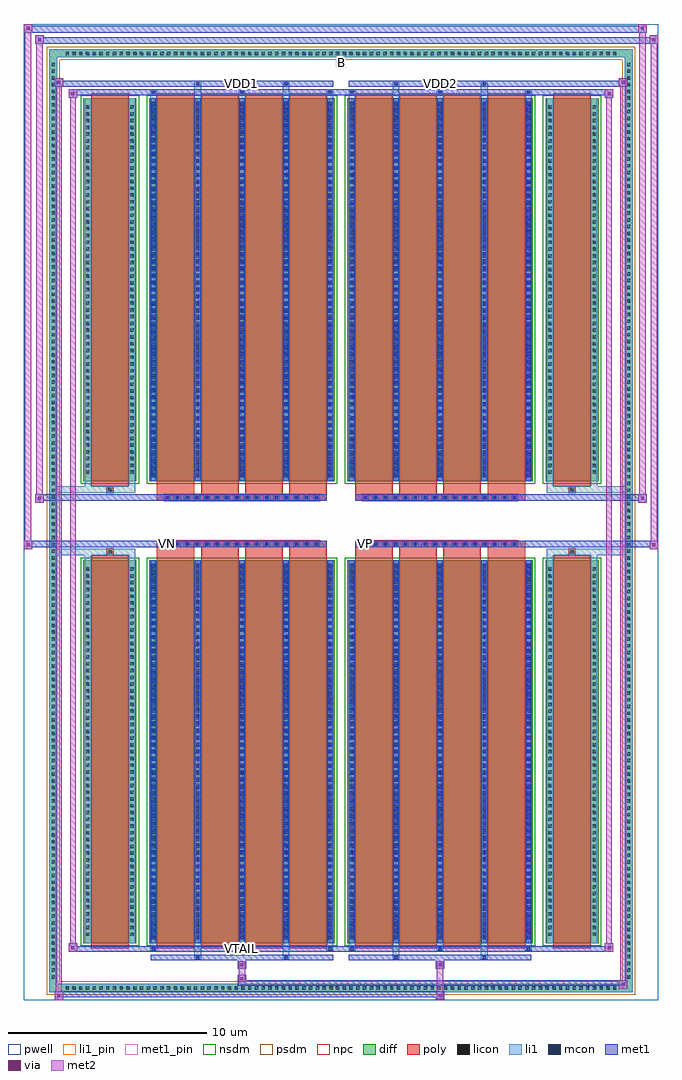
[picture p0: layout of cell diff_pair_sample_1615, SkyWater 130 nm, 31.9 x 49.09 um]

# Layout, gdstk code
import gdstk
lib = gdstk.Library(unit=1e-6, precision=5e-09)
def R(c, l, rs):  # rectangles x0, y0, x1, y1
    for r in rs: c.add(gdstk.rectangle(r[:2], r[2:], *l))
def A(c, l, x, y, w, h, nx, ny, dx, dy):  # array of equal rectangles
    R(c, l, [(x+i*dx, y+j*dy, x+i*dx+w, y+j*dy+h) for i in range(nx) for j in range(ny)])
def P(c, l, *ps):  # polygons
    for p in ps: c.add(gdstk.Polygon(p, *l))
pwell = (64, 44)
diff = (65, 20)
poly = (66, 20)
licon = (66, 44)
li1_pin = (67, 16)
li1 = (67, 20)
mcon = (67, 44)
met1_pin = (68, 16)
met1 = (68, 20)
via = (68, 44)
met2 = (69, 20)
nsdm = (93, 44)
psdm = (94, 20)
npc = (95, 20)

diff_pair_sample_1615 = lib.new_cell('diff_pair_sample_1615')
R(diff_pair_sample_1615, pwell, [(-15.95,-24.11,15.95,24.98), (-13.27,-22.3,-0.01,-0.8), (0.01,-22.3,13.27,-0.8), (-13.27,0.8,-0.01,22.3), (0.01,0.8,13.27,22.3)])
A(diff_pair_sample_1615, diff, -13.975, -23.71, 0.41, 0.41, 82, 2, 0.34, 47.01)
A(diff_pair_sample_1615, diff, -14.68, -23.155, 0.41, 0.41, 1, 136, 0, 0.34)
A(diff_pair_sample_1615, diff, 14.27, -23.155, 0.41, 0.41, 1, 136, 0, 0.34)
R(diff_pair_sample_1615, diff, [(-13.975,-23.71,13.975,-23.3), (-14.68,-23.155,-14.27,23.155), (14.27,-23.155,14.68,23.155), (-12.96,-21.255,-10.29,-1.985), (-9.65,-21.255,-0.32,-1.985), (0.32,-21.255,9.65,-1.985), (10.29,-21.255,12.96,-1.985), (-12.96,1.985,-10.29,21.255), (-9.65,1.985,-0.32,21.255), (0.32,1.985,9.65,21.255), (10.29,1.985,12.96,21.255), (-13.975,23.3,13.975,23.71)])
P(diff_pair_sample_1615, diff, [(14.68,23.71),(-14.68,23.71),(-14.68,-23.3),(-14.27,-23.3),(-14.27,23.3),(14.27,23.3),(14.27,-23.3),(-14.27,-23.3),(-14.68,-23.3),(-14.68,-23.71),(14.68,-23.71)])
A(diff_pair_sample_1615, poly, -9.26, -21.505, 1.89, 19.77, 4, 2, 2.22, 23.24)
A(diff_pair_sample_1615, poly, 0.71, -21.505, 1.89, 19.77, 4, 2, 2.22, 23.24)
A(diff_pair_sample_1615, poly, -9.26, -1.735, 1.89, 0.405, 4, 2, 2.22, 3.065)
A(diff_pair_sample_1615, poly, 0.71, -1.735, 1.89, 0.405, 4, 2, 2.22, 3.065)
A(diff_pair_sample_1615, poly, -8.9, -1.33, 0.33, 0.33, 16, 2, 0.5, 2.33)
A(diff_pair_sample_1615, poly, 1.07, -1.33, 0.33, 0.33, 16, 2, 0.5, 2.33)
R(diff_pair_sample_1615, poly, [(-12.57,-21.505,-10.68,-1.735), (10.68,-21.505,12.57,-1.735), (-11.79,-1.735,-11.46,-1.405), (-11.79,-1.735,-11.46,-1.405), (11.46,-1.735,11.79,-1.405), (11.46,-1.735,11.79,-1.405), (-9.26,-1.33,-0.71,-1), (0.71,-1.33,9.26,-1), (-9.26,1,-0.71,1.33), (0.71,1,9.26,1.33), (-11.79,1.405,-11.46,1.735), (-11.79,1.405,-11.46,1.735), (11.46,1.405,11.79,1.735), (11.46,1.405,11.79,1.735), (-12.57,1.735,-10.68,21.505), (10.68,1.735,12.57,21.505)])
A(diff_pair_sample_1615, licon, -13.855, -23.59, 0.17, 0.17, 82, 2, 0.34, 47.01)
A(diff_pair_sample_1615, licon, -14.56, -23.035, 0.17, 0.17, 1, 136, 0, 0.34)
A(diff_pair_sample_1615, licon, 14.39, -23.035, 0.17, 0.17, 1, 136, 0, 0.34)
A(diff_pair_sample_1615, licon, -12.82, -20.885, 0.17, 0.17, 1, 55, 0, 0.34)
A(diff_pair_sample_1615, licon, -10.6, -20.885, 0.17, 0.17, 1, 55, 0, 0.34)
A(diff_pair_sample_1615, licon, -9.51, -20.885, 0.17, 0.17, 5, 55, 2.22, 0.34)
A(diff_pair_sample_1615, licon, 0.46, -20.885, 0.17, 0.17, 5, 55, 2.22, 0.34)
A(diff_pair_sample_1615, licon, 10.43, -20.885, 0.17, 0.17, 1, 55, 0, 0.34)
A(diff_pair_sample_1615, licon, 12.65, -20.885, 0.17, 0.17, 1, 55, 0, 0.34)
A(diff_pair_sample_1615, licon, -8.82, -1.25, 0.17, 0.17, 16, 2, 0.5, 2.33)
A(diff_pair_sample_1615, licon, 1.15, -1.25, 0.17, 0.17, 16, 2, 0.5, 2.33)
A(diff_pair_sample_1615, licon, -12.82, 2.355, 0.17, 0.17, 1, 55, 0, 0.34)
A(diff_pair_sample_1615, licon, -10.6, 2.355, 0.17, 0.17, 1, 55, 0, 0.34)
A(diff_pair_sample_1615, licon, -9.51, 2.355, 0.17, 0.17, 5, 55, 2.22, 0.34)
A(diff_pair_sample_1615, licon, 0.46, 2.355, 0.17, 0.17, 5, 55, 2.22, 0.34)
A(diff_pair_sample_1615, licon, 10.43, 2.355, 0.17, 0.17, 1, 55, 0, 0.34)
A(diff_pair_sample_1615, licon, 12.65, 2.355, 0.17, 0.17, 1, 55, 0, 0.34)
R(diff_pair_sample_1615, licon, [(-11.71,-1.655,-11.54,-1.485), (11.54,-1.655,11.71,-1.485), (-11.71,1.485,-11.54,1.655), (11.54,1.485,11.71,1.655)])
R(diff_pair_sample_1615, li1_pin, [(-0.25,22.8,0.25,23.3)])
A(diff_pair_sample_1615, li1, -13.935, -23.67, 0.33, 0.33, 82, 2, 0.34, 47.01)
A(diff_pair_sample_1615, li1, -14.64, -23.115, 0.33, 0.33, 1, 136, 0, 0.34)
A(diff_pair_sample_1615, li1, 14.31, -23.115, 0.33, 0.33, 1, 136, 0, 0.34)
A(diff_pair_sample_1615, li1, -9.59, -21.63, 0.33, 0.375, 3, 2, 4.44, 42.885)
A(diff_pair_sample_1615, li1, -9.51, -21.63, 0.17, 0.17, 3, 2, 4.44, 43.09)
A(diff_pair_sample_1615, li1, 0.38, -21.63, 0.33, 0.375, 3, 2, 4.44, 42.885)
A(diff_pair_sample_1615, li1, 0.46, -21.63, 0.17, 0.17, 3, 2, 4.44, 43.09)
A(diff_pair_sample_1615, li1, -9.59, -21.255, 0.33, 19.27, 5, 2, 2.22, 23.24)
A(diff_pair_sample_1615, li1, 0.38, -21.255, 0.33, 19.27, 5, 2, 2.22, 23.24)
A(diff_pair_sample_1615, li1, -9.51, -21.065, 0.17, 0.17, 5, 53, 2.22, 0.36)
A(diff_pair_sample_1615, li1, -9.51, -21.065, 0.17, 18.89, 5, 2, 2.22, 23.24)
A(diff_pair_sample_1615, li1, 0.46, -21.065, 0.17, 0.17, 5, 53, 2.22, 0.36)
A(diff_pair_sample_1615, li1, 0.46, -21.065, 0.17, 18.89, 5, 2, 2.22, 23.24)
A(diff_pair_sample_1615, li1, -12.9, -20.965, 0.33, 0.33, 1, 55, 0, 0.34)
A(diff_pair_sample_1615, li1, -10.68, -20.965, 0.33, 0.33, 1, 55, 0, 0.34)
A(diff_pair_sample_1615, li1, -9.59, -20.965, 0.33, 0.33, 5, 55, 2.22, 0.34)
A(diff_pair_sample_1615, li1, 0.38, -20.965, 0.33, 0.33, 5, 55, 2.22, 0.34)
A(diff_pair_sample_1615, li1, 10.35, -20.965, 0.33, 0.33, 1, 55, 0, 0.34)
A(diff_pair_sample_1615, li1, 12.57, -20.965, 0.33, 0.33, 1, 55, 0, 0.34)
A(diff_pair_sample_1615, li1, -8.9, -1.33, 0.33, 0.33, 16, 2, 0.5, 2.33)
A(diff_pair_sample_1615, li1, 1.07, -1.33, 0.33, 0.33, 16, 2, 0.5, 2.33)
A(diff_pair_sample_1615, li1, -9.51, 2.175, 0.17, 0.17, 5, 53, 2.22, 0.36)
A(diff_pair_sample_1615, li1, 0.46, 2.175, 0.17, 0.17, 5, 53, 2.22, 0.36)
A(diff_pair_sample_1615, li1, -12.9, 2.275, 0.33, 0.33, 1, 55, 0, 0.34)
A(diff_pair_sample_1615, li1, -10.68, 2.275, 0.33, 0.33, 1, 55, 0, 0.34)
A(diff_pair_sample_1615, li1, -9.59, 2.275, 0.33, 0.33, 5, 55, 2.22, 0.34)
A(diff_pair_sample_1615, li1, 0.38, 2.275, 0.33, 0.33, 5, 55, 2.22, 0.34)
A(diff_pair_sample_1615, li1, 10.35, 2.275, 0.33, 0.33, 1, 55, 0, 0.34)
A(diff_pair_sample_1615, li1, 12.57, 2.275, 0.33, 0.33, 1, 55, 0, 0.34)
R(diff_pair_sample_1615, li1, [(-14.68,-23.71,-14.27,-23.3), (-14.68,-23.71,-14.27,-23.3), (-14.27,-23.71,14.27,-23.3), (14.27,-23.71,14.68,-23.3), (14.27,-23.71,14.68,-23.3), (-14.68,-23.3,-14.27,23.3), (14.27,-23.3,14.68,23.3), (-7.37,-22.06,-7.04,-21.255), (-7.29,-22.06,-7.12,-21.89), (-2.93,-22.06,-2.6,-21.255), (-2.85,-22.06,-2.68,-21.89), (2.6,-22.06,2.93,-21.255), (2.68,-22.06,2.85,-21.89), (7.04,-22.06,7.37,-21.255), (7.12,-22.06,7.29,-21.89), (-12.9,-21.255,-12.57,-1.985), (-10.68,-21.255,-10.35,-1.985), (10.35,-21.255,10.68,-1.985), (12.57,-21.255,12.9,-1.985), (-12.9,-1.985,-12.57,-1.405), (-10.68,-1.985,-10.35,-1.405), (10.35,-1.985,10.68,-1.405), (12.57,-1.985,12.9,-1.405), (-14.68,-1.735,-11.79,-1.405), (-12.9,-1.735,-11.79,-1.405), (-11.79,-1.735,-11.46,-1.405), (-11.46,-1.735,-10.35,-1.405), (10.35,-1.735,11.46,-1.405), (11.46,-1.735,11.79,-1.405), (11.46,-1.735,14.68,-1.405), (11.79,-1.735,12.9,-1.405), (-14.68,1.405,-11.79,1.735), (-12.9,1.405,-11.79,1.735), (-12.9,1.405,-12.57,1.985), (-11.79,1.405,-11.46,1.735), (-11.46,1.405,-10.35,1.735), (-10.68,1.405,-10.35,1.985), (10.35,1.405,11.46,1.735), (10.35,1.405,10.68,1.985), (11.46,1.405,11.79,1.735), (11.46,1.405,14.68,1.735), (11.79,1.405,12.9,1.735), (12.57,1.405,12.9,1.985), (-12.9,1.985,-12.57,21.255), (-10.68,1.985,-10.35,21.255), (10.35,1.985,10.68,21.255), (12.57,1.985,12.9,21.255), (-7.37,21.255,-7.04,22.06), (-2.93,21.255,-2.6,22.06), (2.6,21.255,2.93,22.06), (7.04,21.255,7.37,22.06), (-7.29,21.89,-7.12,22.06), (-2.85,21.89,-2.68,22.06), (2.68,21.89,2.85,22.06), (7.12,21.89,7.29,22.06), (-14.68,23.3,-14.27,23.71), (-14.68,23.3,-14.27,23.71), (-14.27,23.3,14.27,23.71), (14.27,23.3,14.68,23.71), (14.27,23.3,14.68,23.71)])
A(diff_pair_sample_1615, mcon, -9.51, -21.63, 0.17, 0.17, 3, 2, 4.44, 43.09)
A(diff_pair_sample_1615, mcon, 0.46, -21.63, 0.17, 0.17, 3, 2, 4.44, 43.09)
A(diff_pair_sample_1615, mcon, -9.51, -21.065, 0.17, 0.17, 5, 53, 2.22, 0.36)
A(diff_pair_sample_1615, mcon, 0.46, -21.065, 0.17, 0.17, 5, 53, 2.22, 0.36)
A(diff_pair_sample_1615, mcon, -8.82, -1.25, 0.17, 0.17, 16, 2, 0.5, 2.33)
A(diff_pair_sample_1615, mcon, 1.15, -1.25, 0.17, 0.17, 16, 2, 0.5, 2.33)
A(diff_pair_sample_1615, mcon, -9.51, 2.175, 0.17, 0.17, 5, 53, 2.22, 0.36)
A(diff_pair_sample_1615, mcon, 0.46, 2.175, 0.17, 0.17, 5, 53, 2.22, 0.36)
R(diff_pair_sample_1615, mcon, [(-7.29,-22.06,-7.12,-21.89), (-2.85,-22.06,-2.68,-21.89), (2.68,-22.06,2.85,-21.89), (7.12,-22.06,7.29,-21.89), (-7.29,21.89,-7.12,22.06), (-2.85,21.89,-2.68,22.06), (2.68,21.89,2.85,22.06), (7.12,21.89,7.29,22.06)])
R(diff_pair_sample_1615, met1_pin, [(-5.12,-21.67,-4.85,-21.4), (-8.87,-1.29,-8.6,-1.02), (1.1,-1.29,1.37,-1.02), (-5.12,21.85,-4.85,22.12), (4.85,21.85,5.12,22.12)])
A(diff_pair_sample_1615, met1, -9.57, -21.69, 0.29, 0.29, 3, 2, 4.44, 43.09)
A(diff_pair_sample_1615, met1, 0.4, -21.69, 0.29, 0.29, 3, 2, 4.44, 43.09)
A(diff_pair_sample_1615, met1, -9.57, -21.255, 0.29, 19.27, 5, 2, 2.22, 23.24)
A(diff_pair_sample_1615, met1, 0.4, -21.255, 0.29, 19.27, 5, 2, 2.22, 23.24)
A(diff_pair_sample_1615, met1, -9.57, -21.125, 0.29, 0.29, 5, 53, 2.22, 0.36)
A(diff_pair_sample_1615, met1, 0.4, -21.125, 0.29, 0.29, 5, 53, 2.22, 0.36)
A(diff_pair_sample_1615, met1, -8.88, -1.31, 0.29, 0.29, 16, 2, 0.5, 2.33)
A(diff_pair_sample_1615, met1, 1.09, -1.31, 0.29, 0.29, 16, 2, 0.5, 2.33)
A(diff_pair_sample_1615, met1, -9.57, 2.115, 0.29, 0.29, 5, 53, 2.22, 0.36)
A(diff_pair_sample_1615, met1, 0.4, 2.115, 0.29, 0.29, 5, 53, 2.22, 0.36)
R(diff_pair_sample_1615, met1, [(-14.41,-24.11,-13.98,-23.68), (4.77,-24.11,5.2,-23.68), (-14.41,-23.97,5.2,-23.68), (13.98,-23.54,14.41,-23.11), (-5.2,-23.4,14.41,-23.11), (-5.2,-23.26,-4.77,-22.83), (-5.2,-22.55,-4.77,-22.12), (4.77,-22.55,5.2,-22.12), (-9.57,-22.12,-0.4,-21.83), (-7.35,-22.12,-7.06,-21.83), (-2.91,-22.12,-2.62,-21.83), (0.4,-22.12,9.57,-21.83), (2.62,-22.12,2.91,-21.83), (7.06,-22.12,7.35,-21.83), (-13.7,-21.69,-13.27,-21.26), (-13.7,-21.69,-9.57,-21.4), (-9.57,-21.69,-0.4,-21.4), (-0.4,-21.69,0.4,-21.4), (0.4,-21.69,9.57,-21.4), (9.57,-21.69,13.7,-21.4), (13.27,-21.69,13.7,-21.26), (-15.95,-1.43,-15.52,-1), (15.52,-1.43,15.95,-1), (-15.95,-1.33,-0.71,-1), (-9.26,-1.33,-0.71,-1), (0.71,-1.33,9.26,-1), (0.71,-1.33,15.95,-1), (-15.38,0.9,-14.95,1.33), (14.95,0.9,15.38,1.33), (-15.38,1,-9.26,1.33), (-9.26,1,-0.71,1.33), (0.71,1,9.26,1.33), (9.26,1,15.38,1.33), (-13.7,21.26,-13.27,21.69), (13.27,21.26,13.7,21.69), (-13.7,21.4,-9.57,21.69), (-9.57,21.4,-0.4,21.69), (-0.4,21.4,0.4,21.69), (0.4,21.4,9.57,21.69), (9.57,21.4,13.7,21.69), (-14.41,21.83,-13.98,22.26), (-14.41,21.83,-9.57,22.12), (-9.57,21.83,-0.4,22.12), (-7.35,21.83,-7.06,22.12), (-2.91,21.83,-2.62,22.12), (0.4,21.83,9.57,22.12), (2.62,21.83,2.91,22.12), (7.06,21.83,7.35,22.12), (9.57,21.83,14.41,22.12), (13.98,21.83,14.41,22.26), (-15.38,23.98,-14.95,24.41), (-15.38,23.98,-13.27,24.31), (-13.27,23.98,13.27,24.31), (13.27,23.98,15.95,24.31), (15.52,23.98,15.95,24.41), (-15.95,24.55,-15.52,24.98), (-15.95,24.55,-13.27,24.88), (-13.27,24.55,13.27,24.88), (13.27,24.55,15.38,24.88), (14.95,24.55,15.38,24.98)])
R(diff_pair_sample_1615, via, [(-14.27,-23.97,-14.12,-23.82), (4.91,-23.97,5.06,-23.82), (14.12,-23.4,14.27,-23.25), (-5.06,-23.12,-4.91,-22.97), (-5.06,-22.41,-4.91,-22.26), (4.91,-22.41,5.06,-22.26), (-13.56,-21.55,-13.41,-21.4), (13.41,-21.55,13.56,-21.4), (-15.81,-1.29,-15.66,-1.14), (15.66,-1.29,15.81,-1.14), (-15.24,1.04,-15.09,1.19), (15.09,1.04,15.24,1.19), (-13.56,21.4,-13.41,21.55), (13.41,21.4,13.56,21.55), (-14.27,21.97,-14.12,22.12), (14.12,21.97,14.27,22.12), (-15.24,24.12,-15.09,24.27), (15.66,24.12,15.81,24.27), (-15.81,24.69,-15.66,24.84), (15.09,24.69,15.24,24.84)])
R(diff_pair_sample_1615, met2, [(-14.41,-24.11,-13.98,-23.68), (-14.34,-24.11,-14.05,22.26), (-14.05,-24.11,-13.98,-23.68), (-14.36,-24.06,-14.03,-23.73), (4.82,-24.06,5.15,-23.73), (4.82,-23.73,5.15,-22.5), (13.98,-23.54,14.41,-23.11), (14.05,-23.54,14.34,22.26), (14.34,-23.54,14.41,-23.11), (14.03,-23.49,14.36,-23.16), (-5.15,-23.21,-4.82,-22.88), (-5.15,-22.88,-4.82,-22.5), (-5.15,-22.5,-4.82,-22.17), (4.82,-22.5,5.15,-22.17), (-13.7,-21.69,-13.27,-21.26), (-13.63,-21.69,-13.34,21.69), (-13.34,-21.69,-13.27,-21.26), (13.27,-21.69,13.7,-21.26), (13.34,-21.69,13.63,21.69), (13.63,-21.69,13.7,-21.26), (-13.65,-21.64,-13.32,-21.31), (13.32,-21.64,13.65,-21.31), (-15.95,-1.43,-15.52,-1), (-15.9,-1.43,-15.57,24.98), (-15.57,-1.43,-15.52,-1), (15.52,-1.43,15.95,-1), (15.57,-1.43,15.9,24.41), (15.9,-1.43,15.95,-1), (-15.9,-1.38,-15.57,-1.05), (15.57,-1.38,15.9,-1.05), (-15.38,0.9,-14.95,1.33), (-15.33,0.9,-15,24.41), (-15,0.9,-14.95,1.33), (14.95,0.9,15.38,1.33), (15,0.9,15.33,24.98), (15.33,0.9,15.38,1.33), (-15.33,0.95,-15,1.28), (15,0.95,15.33,1.28), (-13.7,21.26,-13.27,21.69), (-13.34,21.26,-13.27,21.69), (13.27,21.26,13.7,21.69), (13.63,21.26,13.7,21.69), (-13.65,21.31,-13.32,21.64), (13.32,21.31,13.65,21.64), (-14.41,21.83,-13.98,22.26), (-14.05,21.83,-13.98,22.26), (13.98,21.83,14.41,22.26), (14.34,21.83,14.41,22.26), (-14.36,21.88,-14.03,22.21), (14.03,21.88,14.36,22.21), (-15.38,23.98,-14.95,24.41), (-15,23.98,-14.95,24.41), (15.52,23.98,15.95,24.41), (15.9,23.98,15.95,24.41), (-15.33,24.03,-15,24.36), (15.57,24.03,15.9,24.36), (-15.95,24.55,-15.52,24.98), (-15.57,24.55,-15.52,24.98), (14.95,24.55,15.38,24.98), (15.33,24.55,15.38,24.98), (-15.9,24.6,-15.57,24.93), (15,24.6,15.33,24.93)])
R(diff_pair_sample_1615, nsdm, [(-13.09,-21.385,-10.16,-1.855), (-9.78,-21.385,-0.19,-1.855), (0.19,-21.385,9.78,-1.855), (10.16,-21.385,13.09,-1.855), (-13.09,1.855,-10.16,21.385), (-9.78,1.855,-0.19,21.385), (0.19,1.855,9.78,21.385), (10.16,1.855,13.09,21.385)])
P(diff_pair_sample_1615, psdm, [(14.81,23.84),(-14.81,23.84),(-14.81,-23.17),(-14.14,-23.17),(-14.14,23.17),(14.14,23.17),(14.14,-23.17),(-14.14,-23.17),(-14.81,-23.17),(-14.81,-23.84),(14.81,-23.84)])
A(diff_pair_sample_1615, npc, -8.92, -1.35, 0.37, 0.37, 16, 2, 0.5, 2.33)
A(diff_pair_sample_1615, npc, 1.05, -1.35, 0.37, 0.37, 16, 2, 0.5, 2.33)
R(diff_pair_sample_1615, npc, [(-11.81,-1.755,-11.44,-1.385), (11.44,-1.755,11.81,-1.385), (-8.92,-1.35,-8.05,-0.98), (-8.92,-1.35,-8.05,-0.98), (-8.42,-1.35,-7.55,-0.98), (-8.42,-1.35,-7.55,-0.98), (-7.92,-1.35,-7.05,-0.98), (-7.92,-1.35,-7.05,-0.98), (-7.42,-1.35,-6.55,-0.98), (-7.42,-1.35,-6.55,-0.98), (-6.92,-1.35,-6.05,-0.98), (-6.92,-1.35,-6.05,-0.98), (-6.42,-1.35,-5.55,-0.98), (-6.42,-1.35,-5.55,-0.98), (-5.92,-1.35,-5.05,-0.98), (-5.92,-1.35,-5.05,-0.98), (-5.42,-1.35,-4.55,-0.98), (-5.42,-1.35,-4.55,-0.98), (-4.92,-1.35,-4.05,-0.98), (-4.92,-1.35,-4.05,-0.98), (-4.42,-1.35,-3.55,-0.98), (-4.42,-1.35,-3.55,-0.98), (-3.92,-1.35,-3.05,-0.98), (-3.92,-1.35,-3.05,-0.98), (-3.42,-1.35,-2.55,-0.98), (-3.42,-1.35,-2.55,-0.98), (-2.92,-1.35,-2.05,-0.98), (-2.92,-1.35,-2.05,-0.98), (-2.42,-1.35,-1.55,-0.98), (-2.42,-1.35,-1.55,-0.98), (-1.92,-1.35,-1.05,-0.98), (-1.92,-1.35,-1.05,-0.98), (1.05,-1.35,1.92,-0.98), (1.05,-1.35,1.92,-0.98), (1.55,-1.35,2.42,-0.98), (1.55,-1.35,2.42,-0.98), (2.05,-1.35,2.92,-0.98), (2.05,-1.35,2.92,-0.98), (2.55,-1.35,3.42,-0.98), (2.55,-1.35,3.42,-0.98), (3.05,-1.35,3.92,-0.98), (3.05,-1.35,3.92,-0.98), (3.55,-1.35,4.42,-0.98), (3.55,-1.35,4.42,-0.98), (4.05,-1.35,4.92,-0.98), (4.05,-1.35,4.92,-0.98), (4.55,-1.35,5.42,-0.98), (4.55,-1.35,5.42,-0.98), (5.05,-1.35,5.92,-0.98), (5.05,-1.35,5.92,-0.98), (5.55,-1.35,6.42,-0.98), (5.55,-1.35,6.42,-0.98), (6.05,-1.35,6.92,-0.98), (6.05,-1.35,6.92,-0.98), (6.55,-1.35,7.42,-0.98), (6.55,-1.35,7.42,-0.98), (7.05,-1.35,7.92,-0.98), (7.05,-1.35,7.92,-0.98), (7.55,-1.35,8.42,-0.98), (7.55,-1.35,8.42,-0.98), (8.05,-1.35,8.92,-0.98), (8.05,-1.35,8.92,-0.98), (-8.92,0.98,-8.05,1.35), (-8.92,0.98,-8.05,1.35), (-8.42,0.98,-7.55,1.35), (-8.42,0.98,-7.55,1.35), (-7.92,0.98,-7.05,1.35), (-7.92,0.98,-7.05,1.35), (-7.42,0.98,-6.55,1.35), (-7.42,0.98,-6.55,1.35), (-6.92,0.98,-6.05,1.35), (-6.92,0.98,-6.05,1.35), (-6.42,0.98,-5.55,1.35), (-6.42,0.98,-5.55,1.35), (-5.92,0.98,-5.05,1.35), (-5.92,0.98,-5.05,1.35), (-5.42,0.98,-4.55,1.35), (-5.42,0.98,-4.55,1.35), (-4.92,0.98,-4.05,1.35), (-4.92,0.98,-4.05,1.35), (-4.42,0.98,-3.55,1.35), (-4.42,0.98,-3.55,1.35), (-3.92,0.98,-3.05,1.35), (-3.92,0.98,-3.05,1.35), (-3.42,0.98,-2.55,1.35), (-3.42,0.98,-2.55,1.35), (-2.92,0.98,-2.05,1.35), (-2.92,0.98,-2.05,1.35), (-2.42,0.98,-1.55,1.35), (-2.42,0.98,-1.55,1.35), (-1.92,0.98,-1.05,1.35), (-1.92,0.98,-1.05,1.35), (1.05,0.98,1.92,1.35), (1.05,0.98,1.92,1.35), (1.55,0.98,2.42,1.35), (1.55,0.98,2.42,1.35), (2.05,0.98,2.92,1.35), (2.05,0.98,2.92,1.35), (2.55,0.98,3.42,1.35), (2.55,0.98,3.42,1.35), (3.05,0.98,3.92,1.35), (3.05,0.98,3.92,1.35), (3.55,0.98,4.42,1.35), (3.55,0.98,4.42,1.35), (4.05,0.98,4.92,1.35), (4.05,0.98,4.92,1.35), (4.55,0.98,5.42,1.35), (4.55,0.98,5.42,1.35), (5.05,0.98,5.92,1.35), (5.05,0.98,5.92,1.35), (5.55,0.98,6.42,1.35), (5.55,0.98,6.42,1.35), (6.05,0.98,6.92,1.35), (6.05,0.98,6.92,1.35), (6.55,0.98,7.42,1.35), (6.55,0.98,7.42,1.35), (7.05,0.98,7.92,1.35), (7.05,0.98,7.92,1.35), (7.55,0.98,8.42,1.35), (7.55,0.98,8.42,1.35), (8.05,0.98,8.92,1.35), (8.05,0.98,8.92,1.35), (-11.81,1.385,-11.44,1.755), (11.44,1.385,11.81,1.755)])
diff_pair_sample_1615.add(gdstk.Label('VTAIL', (-4.985,-21.535), layer=68, texttype=5))
diff_pair_sample_1615.add(gdstk.Label('VN', (-8.735,-1.155), layer=68, texttype=5))
diff_pair_sample_1615.add(gdstk.Label('VP', (1.235,-1.155), layer=68, texttype=5))
diff_pair_sample_1615.add(gdstk.Label('B', (0,23.05), layer=67, texttype=5))
diff_pair_sample_1615.add(gdstk.Label('VDD2', (4.985,21.985), layer=68, texttype=5))
diff_pair_sample_1615.add(gdstk.Label('VDD1', (-4.985,21.985), layer=68, texttype=5))

lib.write_gds('diff_pair_sample_1615.gds')
